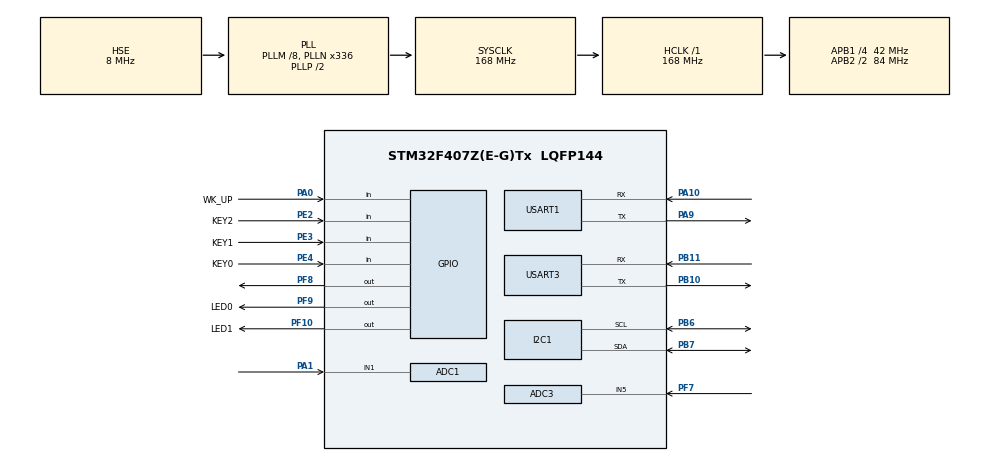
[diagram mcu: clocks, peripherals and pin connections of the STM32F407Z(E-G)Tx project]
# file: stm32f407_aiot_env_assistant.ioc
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ADC1.Channel-0\#ChannelRegularConversion=ADC_CHANNEL_1
ADC1.NbrOfConversionFlag=1
ADC1.Rank-0\#ChannelRegularConversion=1
ADC1.SamplingTime-0\#ChannelRegularConversion=ADC_SAMPLETIME_3CYCLES
ADC1.master=1
ADC3.Channel-0\#ChannelRegularConversion=ADC_CHANNEL_5
ADC3.NbrOfConversion=1
ADC3.NbrOfConversionFlag=1
ADC3.Rank-0\#ChannelRegularConversion=1
ADC3.SamplingTime-0\#ChannelRegularConversion=ADC_SAMPLETIME_144CYCLES
FREERTOS.Tasks01=logTask,24,512,StartlogTask,Default,NULL,Dynamic,NULL,NULL;ledTask,8,128,StartLedTask,Default,NULL,Dynamic,NULL,NULL;keyTask,24,256,StartKeyTask,Default,NULL,Dynamic,NULL,NULL
Mcu.Family=STM32F4
Mcu.Name=STM32F407Z(E-G)Tx
Mcu.Package=LQFP144
NVIC.PriorityGroup=NVIC_PRIORITYGROUP_4
NVIC.TIM6_DAC_IRQn=true\:15\:0\:false\:false\:true\:false\:false\:true\:true
NVIC.TimeBase=TIM6_DAC_IRQn
NVIC.TimeBaseIP=TIM6
PA0-WKUP.GPIO_Label=WK_UP
PA0-WKUP.GPIO_PuPd=GPIO_PULLDOWN
PA0-WKUP.Signal=GPIO_Input
PA1.Signal=ADCx_IN1
PA10.Mode=Asynchronous
PA10.Signal=USART1_RX
PA13.Mode=Serial_Wire
PA13.Signal=SYS_JTMS-SWDIO
PA14.Mode=Serial_Wire
PA14.Signal=SYS_JTCK-SWCLK
PA9.Mode=Asynchronous
PA9.Signal=USART1_TX
PB10.Mode=Asynchronous
PB10.Signal=USART3_TX
PB11.Mode=Asynchronous
PB11.Signal=USART3_RX
PB6.Mode=I2C
PB6.Signal=I2C1_SCL
PB7.Mode=I2C
PB7.Signal=I2C1_SDA
PE2.GPIO_Label=KEY2
PE2.GPIO_PuPd=GPIO_PULLUP
PE2.Signal=GPIO_Input
PE3.GPIO_Label=KEY1
PE3.GPIO_PuPd=GPIO_PULLUP
PE3.Signal=GPIO_Input
PE4.GPIO_Label=KEY0
PE4.GPIO_PuPd=GPIO_PULLUP
PE4.Signal=GPIO_Input
PF10.GPIO_Label=LED1
PF10.Signal=GPIO_Output
PF7.Mode=IN5
PF7.Signal=ADC3_IN5
PF8.Signal=GPIO_Output
PF9.GPIO_Label=LED0
PF9.Signal=GPIO_Output
PH0-OSC_IN.Mode=HSE-External-Oscillator
PH0-OSC_IN.Signal=RCC_OSC_IN
PH1-OSC_OUT.Mode=HSE-External-Oscillator
PH1-OSC_OUT.Signal=RCC_OSC_OUT
ProjectManager.HeapSize=0x200
ProjectManager.StackSize=0x400
ProjectManager.TargetToolchain=CMake
RCC.48MHZClocksFreq_Value=84000000
RCC.AHBFreq_Value=168000000
RCC.APB1CLKDivider=RCC_HCLK_DIV4
RCC.APB1Freq_Value=42000000
RCC.APB1TimFreq_Value=84000000
RCC.APB2CLKDivider=RCC_HCLK_DIV2
RCC.APB2Freq_Value=84000000
RCC.APB2TimFreq_Value=168000000
RCC.CortexFreq_Value=168000000
RCC.HCLKFreq_Value=168000000
RCC.HSE_VALUE=8000000
RCC.HSI_VALUE=16000000
RCC.LSE_VALUE=32768
RCC.PLLM=8
RCC.PLLN=336
RCC.PLLSourceVirtual=RCC_PLLSOURCE_HSE
RCC.SYSCLKFreq_VALUE=168000000
RCC.SYSCLKSource=RCC_SYSCLKSOURCE_PLLCLK
RCC.VCOOutputFreq_Value=336000000
SH.ADCx_IN1.0=ADC1_IN1,IN1
USART1.VirtualMode=VM_ASYNC
USART3.VirtualMode=VM_ASYNC
VP_FREERTOS_VS_CMSIS_V2.Mode=CMSIS_V2
VP_SYS_VS_tim6.Mode=TIM6
board=custom

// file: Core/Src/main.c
/* USER CODE BEGIN Header */
/**
  ******************************************************************************
  * @file           : main.c
  * @brief          : Main program body
  ******************************************************************************
  * @attention
  *
  * Copyright (c) 2026 STMicroelectronics.
  * All rights reserved.
  *
  * This software is licensed under terms that can be found in the LICENSE file
  * in the root directory of this software component.
  * If no LICENSE file comes with this software, it is provided AS-IS.
  *
  ******************************************************************************
  */
/* USER CODE END Header */
#include "main.h"
#include "cmsis_os.h"

/* USER CODE BEGIN Includes */
#include <stdio.h>
#include "app_main.h"
#include "app_state.h"
/* USER CODE END Includes */

ADC_HandleTypeDef hadc1;
ADC_HandleTypeDef hadc3;

I2C_HandleTypeDef hi2c1;

UART_HandleTypeDef huart1;
UART_HandleTypeDef huart3;

/* Definitions for logTask */
osThreadId_t logTaskHandle;
const osThreadAttr_t logTask_attributes = {
  .name = "logTask",
  .stack_size = 512 * 4,
  .priority = (osPriority_t) osPriorityNormal,
};
/* Definitions for ledTask */
osThreadId_t ledTaskHandle;
const osThreadAttr_t ledTask_attributes = {
  .name = "ledTask",
  .stack_size = 128 * 4,
  .priority = (osPriority_t) osPriorityLow,
};
/* Definitions for keyTask */
osThreadId_t keyTaskHandle;
const osThreadAttr_t keyTask_attributes = {
  .name = "keyTask",
  .stack_size = 256 * 4,
  .priority = (osPriority_t) osPriorityNormal,
};
/* USER CODE BEGIN PV */
osThreadId_t sensorTaskHandle;
const osThreadAttr_t sensorTask_attributes = {
  .name = "sensorTask",
  .stack_size = 256 * 4,
  .priority = (osPriority_t) osPriorityNormal,
};

osThreadId_t displayTaskHandle;
const osThreadAttr_t displayTask_attributes = {
  .name = "displayTask",
  .stack_size = 256 * 4,
  .priority = (osPriority_t) osPriorityNormal,
};

osThreadId_t wifiTaskHandle;
const osThreadAttr_t wifiTask_attributes = {
  .name = "wifiTask",
  .stack_size = 256 * 4,
  .priority = (osPriority_t) osPriorityNormal,
};

osThreadId_t mqttTaskHandle;
const osThreadAttr_t mqttTask_attributes = {
  .name = "mqttTask",
  .stack_size = 256 * 4,
  .priority = (osPriority_t) osPriorityNormal,
};
/* USER CODE END PV */

void SystemClock_Config(void);
static void MX_GPIO_Init(void);
static void MX_USART1_UART_Init(void);
static void MX_ADC1_Init(void);
static void MX_I2C1_Init(void);
static void MX_ADC3_Init(void);
static void MX_USART3_UART_Init(void);
void StartlogTask(void *argument);
void StartLedTask(void *argument);
void StartKeyTask(void *argument);

/* USER CODE BEGIN PFP */
void StartSensorTask(void *argument);
void StartDisplayTask(void *argument);
void StartWifiTask(void *argument);
void StartMqttTask(void *argument);
/* USER CODE END PFP */

/* USER CODE BEGIN 0 */
int __io_putchar(int ch)
{
    HAL_UART_Transmit(&huart1, (uint8_t *)&ch, 1, HAL_MAX_DELAY);
    return ch;
}
/* 温湿度浮点格式化工具 */
static void App_FormatFloat1(char *buf, size_t len, float value)
{
  if ((buf == NULL) || (len == 0U)) {
    return;
  }

  /* 将浮点数放大 10 倍转成整数，避免 printf 浮点格式化不可用。 */
  int32_t value_x10 = (value >= 0.0f) ?
                      (int32_t)(value * 10.0f + 0.5f) :
                      (int32_t)(value * 10.0f - 0.5f);

  /* 负数需要单独处理符号，方便后面用整数拼成 x.y 字符串。 */
  const char *sign = (value_x10 < 0) ? "-" : "";
  uint32_t abs_x10 = (value_x10 < 0) ? (uint32_t)(-value_x10) : (uint32_t)value_x10;

  snprintf(buf,
           len,
           "%s%lu.%lu",
           sign,
           (unsigned long)(abs_x10 / 10U),
           (unsigned long)(abs_x10 % 10U));
}

/* I2C扫描工具 */
static void App_I2CScan(I2C_HandleTypeDef *hi2c)
{
  uint8_t found_count = 0U;

  if (hi2c == NULL) {
    return;
  }

  printf("[i2c] scan start\r\n");

  /* I2C 7 位地址范围是 0x08~0x77，HAL 接口需要左移 1 位传入。 */
  for (uint8_t addr = 0x08U; addr <= 0x77U; addr++) {
    if (HAL_I2C_IsDeviceReady(hi2c, (uint16_t)(addr << 1), 1U, 10U) == HAL_OK) {
      printf("[i2c] found device: 0x%02X\r\n", addr);
      found_count++;
    }
  }
  printf("[i2c] scan done, found=%u\r\n", found_count);
}

/* USER CODE END 0 */

int main(void)
{

  /* MCU Configuration--------------------------------------------------------*/

  /* Reset of all peripherals, Initializes the Flash interface and the Systick. */
  HAL_Init();

  /* Configure the system clock */
  SystemClock_Config();

  /* Initialize all configured peripherals */
  MX_GPIO_Init();
  MX_USART1_UART_Init();
  MX_ADC1_Init();
  MX_I2C1_Init();
  MX_ADC3_Init();
  MX_USART3_UART_Init();
  /* USER CODE BEGIN 2 */
  App_Init();
  /* USER CODE END 2 */

  /* Init scheduler */
  osKernelInitialize();

  /* Create the thread(s) */
  /* creation of logTask */
  logTaskHandle = osThreadNew(StartlogTask, NULL, &logTask_attributes);

  /* creation of ledTask */
  ledTaskHandle = osThreadNew(StartLedTask, NULL, &ledTask_attributes);

  /* creation of keyTask */
  keyTaskHandle = osThreadNew(StartKeyTask, NULL, &keyTask_attributes);

  /* USER CODE BEGIN RTOS_THREADS */
  sensorTaskHandle = osThreadNew(StartSensorTask, NULL, &sensorTask_attributes);
  displayTaskHandle = osThreadNew(StartDisplayTask, NULL, &displayTask_attributes);
  wifiTaskHandle = osThreadNew(StartWifiTask, NULL, &wifiTask_attributes);
  mqttTaskHandle = osThreadNew(StartMqttTask, NULL, &mqttTask_attributes);

  if (sensorTaskHandle == NULL) {
    printf("[rtos] sensorTask create failed\r\n");
  }

  if (displayTaskHandle == NULL) {
    printf("[rtos] displayTask create failed\r\n");
  }

  if (wifiTaskHandle == NULL) {
    printf("[rtos] wifiTask create failed\r\n");
  }

  if (mqttTaskHandle == NULL) {
    printf("[rtos] mqttTask create failed\r\n");
  }
  /* USER CODE END RTOS_THREADS */

  /* Start scheduler */
  osKernelStart();

  /* We should never get here as control is now taken by the scheduler */

  /* Infinite loop */
  /* USER CODE BEGIN WHILE */
  while (1)
  {
    // printf("STM32F407 AIoT bringup OK, tick=%lu\r\n", HAL_GetTick());
    // HAL_GPIO_TogglePin(GPIOF, GPIO_PIN_9 | GPIO_PIN_10);  // 翻转 LED0 和 LED1
    // HAL_Delay(1000);                                     // 延时 1000ms
    /* USER CODE END WHILE */

  }
}

void SystemClock_Config(void)
{
  RCC_OscInitTypeDef RCC_OscInitStruct = {0};
  RCC_ClkInitTypeDef RCC_ClkInitStruct = {0};

  /** Configure the main internal regulator output voltage
  */
  __HAL_RCC_PWR_CLK_ENABLE();
  __HAL_PWR_VOLTAGESCALING_CONFIG(PWR_REGULATOR_VOLTAGE_SCALE1);

  /** Initializes the RCC Oscillators according to the specified parameters
  * in the RCC_OscInitTypeDef structure.
  */
  RCC_OscInitStruct.OscillatorType = RCC_OSCILLATORTYPE_HSE;
  RCC_OscInitStruct.HSEState = RCC_HSE_ON;
  RCC_OscInitStruct.PLL.PLLState = RCC_PLL_ON;
  RCC_OscInitStruct.PLL.PLLSource = RCC_PLLSOURCE_HSE;
  RCC_OscInitStruct.PLL.PLLM = 8;
  RCC_OscInitStruct.PLL.PLLN = 336;
  RCC_OscInitStruct.PLL.PLLP = RCC_PLLP_DIV2;
  RCC_OscInitStruct.PLL.PLLQ = 4;
  if (HAL_RCC_OscConfig(&RCC_OscInitStruct) != HAL_OK)
  {
    Error_Handler();
  }

  /** Initializes the CPU, AHB and APB buses clocks
  */
  RCC_ClkInitStruct.ClockType = RCC_CLOCKTYPE_HCLK|RCC_CLOCKTYPE_SYSCLK
                              |RCC_CLOCKTYPE_PCLK1|RCC_CLOCKTYPE_PCLK2;
  RCC_ClkInitStruct.SYSCLKSource = RCC_SYSCLKSOURCE_PLLCLK;
  RCC_ClkInitStruct.AHBCLKDivider = RCC_SYSCLK_DIV1;
  RCC_ClkInitStruct.APB1CLKDivider = RCC_HCLK_DIV4;
  RCC_ClkInitStruct.APB2CLKDivider = RCC_HCLK_DIV2;

  if (HAL_RCC_ClockConfig(&RCC_ClkInitStruct, FLASH_LATENCY_5) != HAL_OK)
  {
    Error_Handler();
  }
}

static void MX_ADC1_Init(void)
{

  ADC_ChannelConfTypeDef sConfig = {0};

  /** Configure the global features of the ADC (Clock, Resolution, Data Alignment and number of conversion)
  */
  hadc1.Instance = ADC1;
  hadc1.Init.ClockPrescaler = ADC_CLOCK_SYNC_PCLK_DIV4;
  hadc1.Init.Resolution = ADC_RESOLUTION_12B;
  hadc1.Init.ScanConvMode = DISABLE;
  hadc1.Init.ContinuousConvMode = DISABLE;
  hadc1.Init.DiscontinuousConvMode = DISABLE;
  hadc1.Init.ExternalTrigConvEdge = ADC_EXTERNALTRIGCONVEDGE_NONE;
  hadc1.Init.ExternalTrigConv = ADC_SOFTWARE_START;
  hadc1.Init.DataAlign = ADC_DATAALIGN_RIGHT;
  hadc1.Init.NbrOfConversion = 1;
  hadc1.Init.DMAContinuousRequests = DISABLE;
  hadc1.Init.EOCSelection = ADC_EOC_SINGLE_CONV;
  if (HAL_ADC_Init(&hadc1) != HAL_OK)
  {
    Error_Handler();
  }

  /** Configure for the selected ADC regular channel its corresponding rank in the sequencer and its sample time.
  */
  sConfig.Channel = ADC_CHANNEL_1;
  sConfig.Rank = 1;
  sConfig.SamplingTime = ADC_SAMPLETIME_3CYCLES;
  if (HAL_ADC_ConfigChannel(&hadc1, &sConfig) != HAL_OK)
  {
    Error_Handler();
  }

}

static void MX_ADC3_Init(void)
{

  ADC_ChannelConfTypeDef sConfig = {0};

  /** Configure the global features of the ADC (Clock, Resolution, Data Alignment and number of conversion)
  */
  hadc3.Instance = ADC3;
  hadc3.Init.ClockPrescaler = ADC_CLOCK_SYNC_PCLK_DIV4;
  hadc3.Init.Resolution = ADC_RESOLUTION_12B;
  hadc3.Init.ScanConvMode = DISABLE;
  hadc3.Init.ContinuousConvMode = DISABLE;
  hadc3.Init.DiscontinuousConvMode = DISABLE;
  hadc3.Init.ExternalTrigConvEdge = ADC_EXTERNALTRIGCONVEDGE_NONE;
  hadc3.Init.ExternalTrigConv = ADC_SOFTWARE_START;
  hadc3.Init.DataAlign = ADC_DATAALIGN_RIGHT;
  hadc3.Init.NbrOfConversion = 1;
  hadc3.Init.DMAContinuousRequests = DISABLE;
  hadc3.Init.EOCSelection = ADC_EOC_SINGLE_CONV;
  if (HAL_ADC_Init(&hadc3) != HAL_OK)
  {
    Error_Handler();
  }

  /** Configure for the selected ADC regular channel its corresponding rank in the sequencer and its sample time.
  */
  sConfig.Channel = ADC_CHANNEL_5;
  sConfig.Rank = 1;
  sConfig.SamplingTime = ADC_SAMPLETIME_144CYCLES;
  if (HAL_ADC_ConfigChannel(&hadc3, &sConfig) != HAL_OK)
  {
    Error_Handler();
  }

}

static void MX_I2C1_Init(void)
{

  hi2c1.Instance = I2C1;
  hi2c1.Init.ClockSpeed = 100000;
  hi2c1.Init.DutyCycle = I2C_DUTYCYCLE_2;
  hi2c1.Init.OwnAddress1 = 0;
  hi2c1.Init.AddressingMode = I2C_ADDRESSINGMODE_7BIT;
  hi2c1.Init.DualAddressMode = I2C_DUALADDRESS_DISABLE;
  hi2c1.Init.OwnAddress2 = 0;
  hi2c1.Init.GeneralCallMode = I2C_GENERALCALL_DISABLE;
  hi2c1.Init.NoStretchMode = I2C_NOSTRETCH_DISABLE;
  if (HAL_I2C_Init(&hi2c1) != HAL_OK)
  {
    Error_Handler();
  }

}

static void MX_USART1_UART_Init(void)
{

  huart1.Instance = USART1;
  huart1.Init.BaudRate = 115200;
  huart1.Init.WordLength = UART_WORDLENGTH_8B;
  huart1.Init.StopBits = UART_STOPBITS_1;
  huart1.Init.Parity = UART_PARITY_NONE;
  huart1.Init.Mode = UART_MODE_TX_RX;
  huart1.Init.HwFlowCtl = UART_HWCONTROL_NONE;
  huart1.Init.OverSampling = UART_OVERSAMPLING_16;
  if (HAL_UART_Init(&huart1) != HAL_OK)
  {
    Error_Handler();
  }

}

static void MX_USART3_UART_Init(void)
{

  huart3.Instance = USART3;
  huart3.Init.BaudRate = 115200;
  huart3.Init.WordLength = UART_WORDLENGTH_8B;
  huart3.Init.StopBits = UART_STOPBITS_1;
  huart3.Init.Parity = UART_PARITY_NONE;
  huart3.Init.Mode = UART_MODE_TX_RX;
  huart3.Init.HwFlowCtl = UART_HWCONTROL_NONE;
  huart3.Init.OverSampling = UART_OVERSAMPLING_16;
  if (HAL_UART_Init(&huart3) != HAL_OK)
  {
    Error_Handler();
  }

}

static void MX_GPIO_Init(void)
{
  GPIO_InitTypeDef GPIO_InitStruct = {0};

  /* GPIO Ports Clock Enable */
  __HAL_RCC_GPIOE_CLK_ENABLE();
  __HAL_RCC_GPIOF_CLK_ENABLE();
  __HAL_RCC_GPIOH_CLK_ENABLE();
  __HAL_RCC_GPIOA_CLK_ENABLE();
  __HAL_RCC_GPIOB_CLK_ENABLE();

  /*Configure GPIO pin Output Level */
  HAL_GPIO_WritePin(GPIOF, GPIO_PIN_8|LED0_Pin|LED1_Pin, GPIO_PIN_RESET);

  /*Configure GPIO pins : KEY2_Pin KEY1_Pin KEY0_Pin */
  GPIO_InitStruct.Pin = KEY2_Pin|KEY1_Pin|KEY0_Pin;
  GPIO_InitStruct.Mode = GPIO_MODE_INPUT;
  GPIO_InitStruct.Pull = GPIO_PULLUP;
  HAL_GPIO_Init(GPIOE, &GPIO_InitStruct);

  /*Configure GPIO pins : PF8 LED0_Pin LED1_Pin */
  GPIO_InitStruct.Pin = GPIO_PIN_8|LED0_Pin|LED1_Pin;
  GPIO_InitStruct.Mode = GPIO_MODE_OUTPUT_PP;
  GPIO_InitStruct.Pull = GPIO_NOPULL;
  GPIO_InitStruct.Speed = GPIO_SPEED_FREQ_LOW;
  HAL_GPIO_Init(GPIOF, &GPIO_InitStruct);

  /*Configure GPIO pin : WK_UP_Pin */
  GPIO_InitStruct.Pin = WK_UP_Pin;
  GPIO_InitStruct.Mode = GPIO_MODE_INPUT;
  GPIO_InitStruct.Pull = GPIO_PULLDOWN;
  HAL_GPIO_Init(WK_UP_GPIO_Port, &GPIO_InitStruct);

}

/* USER CODE BEGIN 4 */
void StartSensorTask(void *argument)
{
  for(;;)
  {
    /* 周期采集 AHT30 和光敏 ADC，并更新 AppState。 */
    App_SensorTaskLoop();
    osDelay(500);
  }
}

void StartDisplayTask(void *argument)
{
  for(;;)
  {
    /* 从 AppState 读取最新环境数据，并刷新串口日志和 OLED。 */
    App_DisplayTaskLoop();
    osDelay(1000);
  }
}

void StartWifiTask(void *argument)
{
  for(;;)
  {
    App_WifiTaskLoop();
    osDelay(2000);
  }
}

void StartMqttTask(void *argument)
{
  for(;;)
  {
    /* MQTT 当前仍是占位流程，恢复后便于后续接入上报状态机。 */
    App_MqttTaskLoop();
    osDelay(3000);
  }
}
/* USER CODE END 4 */

void StartlogTask(void *argument)
{
  /* USER CODE BEGIN 5 */
  /* Infinite loop */
  for(;;)
  {
    // printf("[log_task] tick=%lu\r\n", HAL_GetTick());
    osDelay(1000);
  }
  /* USER CODE END 5 */
}

void StartLedTask(void *argument)
{
  /* USER CODE BEGIN StartLedTask */
  /* Infinite loop */
  for(;;)
  {
    AppState_t *s = AppState_Get();
    uint32_t delay = 500;
    if(s->mode == APP_MODE_FOCUS)  delay = 200;
    if(s->mode == APP_MODE_ALERT)  delay = 100;
    HAL_GPIO_TogglePin(GPIOF, GPIO_PIN_9 | GPIO_PIN_10);
    osDelay(delay);
  }
  /* USER CODE END StartLedTask */
}

void StartKeyTask(void *argument)
{
  /* USER CODE BEGIN StartKeyTask */
  /*
   * keyTask：按键扫描任务。
   * KEY0：低电平有效，稳定按下后切换工作模式。
   * KEY1：低电平有效，稳定按下后通过串口打印当前系统状态。
   * KEY2：低电平有效，稳定按下后清除报警状态，并在 ALERT 模式下切回 NORMAL。
   * 这里使用“周期采样 +稳定时间确认”的方式做软件防抖，避免机械按键抖动造成重复触发。
   */
  const uint32_t scan_interval_ms = 10U;
  const uint32_t debounce_ms = 30U;

  /* 初始化 KEY0 状态：KEY0 用于切换工作模式。 */
  GPIO_PinState key0_last_sample = HAL_GPIO_ReadPin(KEY0_GPIO_Port, KEY0_Pin);
  GPIO_PinState key0_stable_state = key0_last_sample;
  uint32_t key0_stable_time_ms = 0U;
  /* 标记按键是否已处理，避免按键长按时重复触发。 */
  uint8_t key0_press_handled = (key0_stable_state == GPIO_PIN_RESET) ? 1U : 0U;

  /* 初始化 KEY1 状态：KEY1 用于串口打印当前系统状态。 */
  GPIO_PinState key1_last_sample = HAL_GPIO_ReadPin(KEY1_GPIO_Port, KEY1_Pin);
  GPIO_PinState key1_stable_state = key1_last_sample;
  uint32_t key1_stable_time_ms = 0U;
  uint8_t key1_press_handled = (key1_stable_state == GPIO_PIN_RESET) ? 1U : 0U;

  /* 初始化 KEY2 状态：KEY2 用于清除报警状态。 */
  GPIO_PinState key2_last_sample = HAL_GPIO_ReadPin(KEY2_GPIO_Port, KEY2_Pin);
  GPIO_PinState key2_stable_state = key2_last_sample;
  uint32_t key2_stable_time_ms = 0U;
  uint8_t key2_press_handled = (key2_stable_state == GPIO_PIN_RESET) ? 1U : 0U;

  for(;;)
  {
    GPIO_PinState key0_sample = HAL_GPIO_ReadPin(KEY0_GPIO_Port, KEY0_Pin);
    GPIO_PinState key1_sample = HAL_GPIO_ReadPin(KEY1_GPIO_Port, KEY1_Pin);
    GPIO_PinState key2_sample = HAL_GPIO_ReadPin(KEY2_GPIO_Port, KEY2_Pin);

    /* KEY0 防抖状态机 */
    if (key0_sample == key0_last_sample) {
      if (key0_stable_time_ms < debounce_ms) {
        key0_stable_time_ms += scan_interval_ms;
      }
    } else {
      key0_last_sample = key0_sample;
      key0_stable_time_ms = 0U;
    }

    /* KEY0 按键状态更新 */
    if ((key0_stable_time_ms >= debounce_ms) && (key0_stable_state != key0_last_sample)) {
      key0_stable_state = key0_last_sample;
      if (key0_stable_state == GPIO_PIN_SET) {
        key0_press_handled = 0U;
      }
    }

    /* KEY1 防抖状态机 */
    if (key1_sample == key1_last_sample) {
      if (key1_stable_time_ms < debounce_ms) {
        key1_stable_time_ms += scan_interval_ms;
      }
    } else {
      key1_last_sample = key1_sample;
      key1_stable_time_ms = 0U;
    }

    /* KEY1 按键状态更新 */
    if ((key1_stable_time_ms >= debounce_ms) && (key1_stable_state != key1_last_sample)) {
      key1_stable_state = key1_last_sample;
      if (key1_stable_state == GPIO_PIN_SET) {
        key1_press_handled = 0U;
      }
    }

    /* KEY2 防抖状态机 */
    if (key2_sample == key2_last_sample) {
      if (key2_stable_time_ms < debounce_ms) {
        key2_stable_time_ms += scan_interval_ms;
      }
    } else {
      key2_last_sample = key2_sample;
      key2_stable_time_ms = 0U;
    }

    /* KEY2 按键状态更新 */
    if ((key2_stable_time_ms >= debounce_ms) && (key2_stable_state != key2_last_sample)) {
      key2_stable_state = key2_last_sample;
      if (key2_stable_state == GPIO_PIN_SET) {
        key2_press_handled = 0U;
      }
    }

    /* KEY0 按下稳定且本次按下尚未处理时，只触发一次模式切换。 */
    if ((key0_stable_state == GPIO_PIN_RESET) && (key0_press_handled == 0U)) {
      AppState_t *s = AppState_Get();
      AppMode_t next_mode = APP_MODE_NORMAL;

      /* 模式循环顺序：NORMAL -> FOCUS -> ALERT -> NORMAL。 */
      if (s->mode == APP_MODE_NORMAL) {
        next_mode = APP_MODE_FOCUS;
      } else if (s->mode == APP_MODE_FOCUS) {
        next_mode = APP_MODE_ALERT;
      }

      AppState_SetMode(next_mode);
      key0_press_handled = 1U;

      printf("[key] mode changed: %s\r\n", AppState_ModeToString(next_mode));

      /* 蜂鸣器短响 80ms，作为 KEY0 模式切换已经生效的反馈。 */
      HAL_GPIO_WritePin(GPIOF, GPIO_PIN_8, GPIO_PIN_SET);
      osDelay(80);
      HAL_GPIO_WritePin(GPIOF, GPIO_PIN_8, GPIO_PIN_RESET);
    }

    /* KEY1 稳定按下且本次按下尚未处理时，打印一次当前系统状态。 */
    if ((key1_stable_state == GPIO_PIN_RESET) && (key1_press_handled == 0U)) {
      AppState_t *s = AppState_Get();
      char temp_text[12];
      char hum_text[12];

      /* 先把温湿度转成字符串，再交给 printf 使用 %s 输出。 */
      App_FormatFloat1(temp_text, sizeof(temp_text), s->temperature);
      App_FormatFloat1(hum_text, sizeof(hum_text), s->humidity);

      printf("[key] status: mode=%s light_raw=%u light=%d aht=%s temp=%s "
             "hum=%s alert=%u wifi=%s mqtt=%s\r\n",
             AppState_ModeToString(s->mode), (unsigned int)s->light_raw,
             s->light_percent, s->aht30_valid ? "OK" : "ERR",
             temp_text,
             hum_text,
             (unsigned int)s->alert_active,
             AppState_WifiToString(s->wifi_status),
             AppState_MqttToString(s->mqtt_status));

      /* KEY1 作为调试键：打印系统状态后，顺便扫描 I2C1 总线设备。 */
      App_I2CScan(&hi2c1);
      /* 标记本次 KEY1 按下已处理，避免长按时重复打印。 */
      key1_press_handled = 1U;
    }

    /* KEY2 按下稳定且本次按下尚未处理时，清除报警状态。 */
    if ((key2_stable_state == GPIO_PIN_RESET) && (key2_press_handled == 0U)) {
      AppState_t *s = AppState_Get();

      /* 清除报警标志，表示用户已经手动确认当前报警。 */
      s->alert_active = 0U;

      /* 如果当前处于 ALERT 模式，清除报警后自动回到 NORMAL 模式。 */
      if (s->mode == APP_MODE_ALERT) {
        AppState_SetMode(APP_MODE_NORMAL);
      }

      printf("[key] alert cleared: mode=%s alert=%u\r\n",
             AppState_ModeToString(s->mode),
             (unsigned int)s->alert_active);

      /* 标记本次 KEY2 按下已处理，避免长按时重复清除和重复打印。 */
      key2_press_handled = 1U;
    }
    /* 任务周期延时 */
    osDelay(scan_interval_ms);
  }
  /* USER CODE END StartKeyTask */
}

void HAL_TIM_PeriodElapsedCallback(TIM_HandleTypeDef *htim)
{
  if (htim->Instance == TIM6)
  {
    HAL_IncTick();
  }
}

void Error_Handler(void)
{
  __disable_irq();
  while (1)
  {
  }
}
